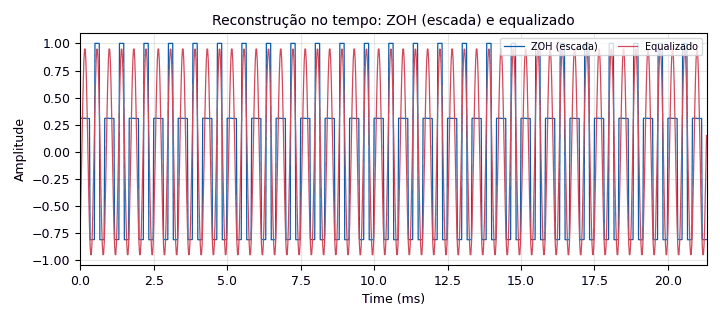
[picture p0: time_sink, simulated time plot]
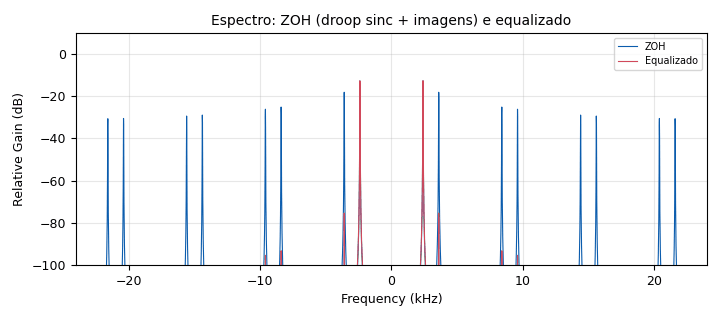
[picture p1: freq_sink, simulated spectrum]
options:
  parameters:
    author: Prof. Daniel Costa Araújo
    description: Prática 08 - Reconstrução ZOH e equalização
    generate_options: qt_gui
    id: pratica_08_reconstrucao_zoh
    output_language: python
    title: Prática 08 - Reconstrução ZOH e Equalização
  states: {}

blocks:
- name: samp_rate
  id: variable
  parameters:
    comment: Taxa apos o ZOH (fs_high)
    value: '48000'
  states: {}
- name: N_zoh
  id: variable
  parameters:
    comment: Fator de upsampling do ZOH
    value: '8'
  states: {}
- name: fs_low
  id: variable
  parameters:
    comment: Taxa antes do ZOH
    value: samp_rate//N_zoh
  states: {}
- name: f0
  id: variable_qtgui_range
  parameters:
    comment: Frequência do tom de teste
    gui_hint: 0,0,1,2
    label: Frequência do tom (Hz)
    start: '200'
    step: '100'
    stop: '2800'
    value: '2400'
  states: {}
- name: src
  id: analog_sig_source_x
  parameters:
    amp: '1.0'
    comment: Tom amostrado a fs_low
    freq: f0
    offset: '0'
    phase: '0'
    samp_rate: fs_low
    type: float
    waveform: analog.GR_COS_WAVE
  states: {}
- name: zoh
  id: blocks_repeat
  parameters:
    comment: 'Zero-order hold: segura cada amostra N vezes'
    interp: N_zoh
    type: float
  states: {}
- name: throttle
  id: blocks_throttle2
  parameters:
    samples_per_second: samp_rate
    type: float
  states: {}
- name: equalizador
  id: epy_block
  parameters:
    _source_code: |
      """
      Embedded Python Block -- Equalizador de reconstrucao ZOH (inverse-sinc)
      =======================================================================
      Um DAC real segura cada amostra por Ts = 1/fs_low (zero-order hold), o que
      multiplica o espectro pelo envelope |H_ZOH(f)| = |sinc(f/fs_low)|. Esse
      envelope atenua as altas frequencias -- efeito de abertura -- com perda de
      sinc(0,5) = 2/pi ~ -3,9 dB na borda da banda f = fs_low/2.

      Este bloco aplica um FIR de compensacao com resposta proporcional a
      1/sinc(f/fs_low) na banda de passagem, achatando o droop, e com rolloff acima
      de fs_low/2 para suprimir as imagens espectrais.

      Cole este codigo em um "Embedded Python Block" do GNU Radio Companion, com os
      parametros fs_low, fs_high e ntaps. A funcao design_eq tambem e reutilizada
      pelo gabarito (pratica_08_gabarito.py).
      """

      import numpy as np
      from gnuradio import gr
      from scipy.signal import firwin2


      def design_eq(fs_low, fs_high, ntaps=201, pb_frac=0.45):
          """FIR equalizador inverse-sinc no rate fs_high.

          fs_low  -- taxa antes do ZOH (Hz)
          fs_high -- taxa apos o ZOH/upsampling (Hz)
          ntaps   -- numero de coeficientes (impar)
          pb_frac -- fracao de fs_low/2 ate onde a banda e equalizada
          """
          f = np.linspace(0.0, 1.0, 512)            # normalizado a fs_high/2
          fc = (pb_frac * fs_low) / (fs_high / 2.0)
          g = np.zeros_like(f)
          pb = f <= fc
          g[pb] = 1.0 / np.sinc(f[pb] * (fs_high / 2.0) / fs_low)
          return np.asarray(firwin2(ntaps, f, g), dtype=np.float32)


      class blk(gr.sync_block):
          def __init__(self, fs_low=6000, fs_high=48000, ntaps=201):
              gr.sync_block.__init__(self, name="Equalizador ZOH (inverse-sinc)",
                                     in_sig=[np.float32], out_sig=[np.float32])
              self.taps = design_eq(fs_low, fs_high, ntaps)
              self.set_history(len(self.taps))

          def work(self, input_items, output_items):
              y = np.convolve(input_items[0], self.taps, 'valid')
              output_items[0][:] = y
              return len(output_items[0])
    comment: Equalizador inverse-sinc
    fs_high: samp_rate
    fs_low: fs_low
    ntaps: '201'
  states: {}
- name: time_sink
  id: qtgui_time_sink_x
  parameters:
    autoscale: 'True'
    grid: 'True'
    gui_hint: 1,0,1,2
    label1: ZOH (escada)
    label2: Equalizado
    name: '"Reconstrução no tempo: ZOH (escada) e equalizado"'
    nconnections: '2'
    size: '1024'
    srate: samp_rate
    type: float
    ymax: '1.5'
    ymin: '-1.5'
  states: {}
- name: freq_sink
  id: qtgui_freq_sink_x
  parameters:
    bw: samp_rate
    fc: '0'
    fftsize: '4096'
    grid: 'True'
    gui_hint: 2,0,1,2
    label1: ZOH
    label2: Equalizado
    name: '"Espectro: ZOH (droop sinc + imagens) e equalizado"'
    nconnections: '2'
    type: float
    wintype: window.WIN_HANN
    ymin: '-100'
  states: {}

connections:
- [src, '0', zoh, '0']
- [zoh, '0', throttle, '0']
- [throttle, '0', time_sink, '0']
- [throttle, '0', freq_sink, '0']
- [throttle, '0', equalizador, '0']
- [equalizador, '0', time_sink, '1']
- [equalizador, '0', freq_sink, '1']

metadata:
  file_format: 1
  grc_version: 3.10.12.0
